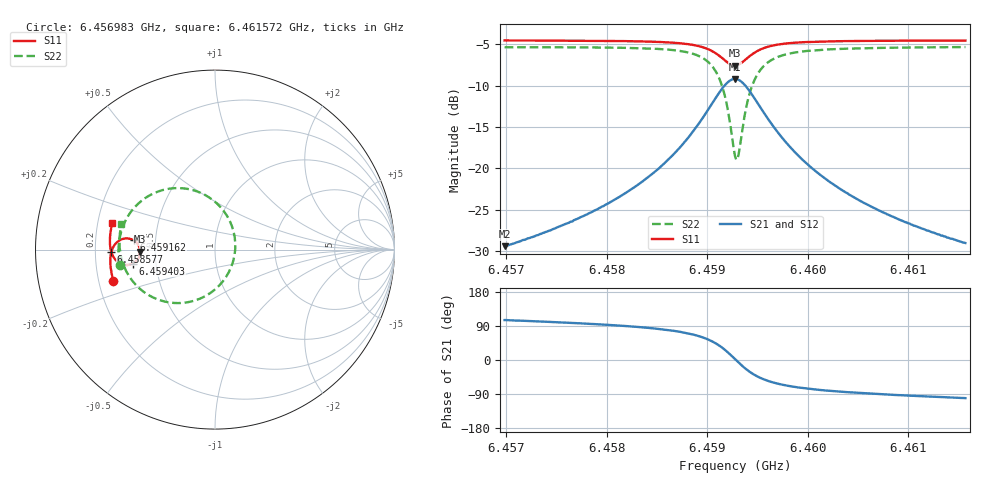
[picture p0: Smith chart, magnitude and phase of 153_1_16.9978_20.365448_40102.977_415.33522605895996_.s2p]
#  HZ  S  RI  R  50.00
! Rohde & Schwarz Vector Network Analyzer
! Rohde-Schwarz,ZNB20-2Port,1311601062101988,3.16
! Created: UTC 3/20/2024, 10:58:55 PM
! freq[Hz]  re:S11  im:S11  re:S21  im:S21  re:S12  im:S12  re:S22  im:S22
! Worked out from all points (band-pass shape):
!   401 points, 6.456983 GHz to 6.461572 GHz, reference 50 ohm
!   highest |S21| = -9.21 dB at 6.459277 GHz (marker M1); lowest = -29.4 dB at 6.456983 GHz (marker M2)
!   |S21| within 3 dB of the highest: 6.459047 GHz to 6.459506 GHz (458.7 kHz wide, 0.0071 % of centre)
!   lowest |S11| = -7.6 dB at 6.459277 GHz (marker M3), VSWR 2.43, Z = 20.6 - j0.577 ohm
!   |S11| at or under -10 dB: nowhere
!   |S22| runs from -19.0 to -5.3 dB; largest |S21 - S12| = 0.014
!   S11 on the Smith chart (normalised r, x): 6.456983 GHz: 0.26, -0.14; 6.458577 GHz: 0.27, -0.01; 6.459162 GHz: 0.37, +0.05; 6.459403 GHz: 0.37, -0.07; 6.461572 GHz: 0.26, +0.12
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6.4569829e9  -0.5662 -0.1731  -0.00895 0.0326  -0.00725 0.0324  -0.532 -0.0854
6.4577514e9  -0.5804 -0.1058  -0.00575 0.0506  -0.00326 0.0501  -0.5376 0.00459
6.4581874e9  -0.5834 -0.062  0.000375 0.0708  0.00374 0.0693  -0.5289 0.0742
6.45852e9  -0.5796 -0.0219  0.0141 0.0989  0.018 0.0963  -0.5042 0.1497
6.4585774e9  -0.5778 -0.0142  0.0185 0.106  0.0224 0.1029  -0.4961 0.1662
6.4587839e9  -0.5647 0.018  0.046 0.1384  0.0501 0.1336  -0.4445 0.2391
6.458933e9  -0.5419 0.0446  0.0912 0.1693  0.0945 0.1625  -0.361 0.3039
6.4590707e9  -0.4979 0.0621  0.1787 0.1859  0.1797 0.1787  -0.2014 0.3427
6.4591625e9  -0.453 0.0518  0.269 0.1548  0.2693 0.1488  -0.0347 0.2921
6.4592313e9  -0.4239 0.0195  0.3297 0.0825  0.332 0.0773  0.0809 0.1625
6.4592772e9  -0.417 -0.0116  0.3462 0.0144  0.3498 0.0075  0.113 0.0352
6.4593116e9  -0.421 -0.0354  0.3403 -0.0382  0.3441 -0.0472  0.1013 -0.0644
6.4593575e9  -0.4367 -0.0616  0.3115 -0.0981  0.3139 -0.11  0.0434 -0.1773
6.4594034e9  -0.4587 -0.0779  0.2694 -0.1393  0.2686 -0.1525  -0.0419 -0.252
6.4594493e9  -0.4817 -0.0849  0.2251 -0.1617  0.2211 -0.1746  -0.1309 -0.2887
6.4595066e9  -0.5069 -0.0841  0.1755 -0.171  0.169 -0.1821  -0.2281 -0.2973
6.4596557e9  -0.5485 -0.0626  0.0921 -0.1547  0.0838 -0.1605  -0.386 -0.2432
6.4598163e9  -0.569 -0.0349  0.0497 -0.1269  0.0422 -0.1297  -0.4618 -0.1721
6.4600458e9  -0.5808 -0.00131  0.0224 -0.0972  0.0167 -0.0978  -0.5063 -0.0945
6.4603785e9  -0.5855 0.0384  0.00673 -0.0711  0.00279 -0.0708  -0.5275 -0.0177
6.4608144e9  -0.5838 0.0824  -0.00123 -0.0519  -0.00414 -0.0512  -0.5322 0.0526
6.4615715e9  -0.5718 0.1495  -0.00648 -0.0347  -0.00812 -0.0337  -0.5211 0.1422
